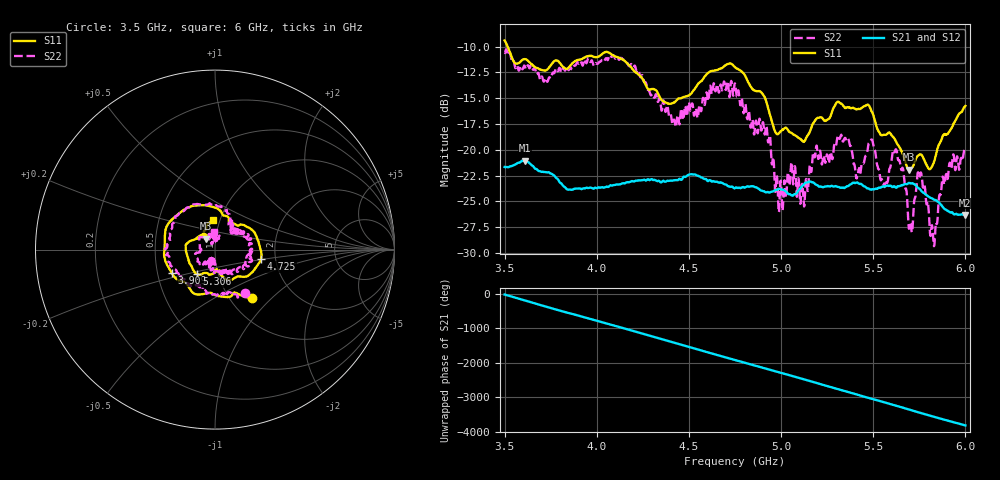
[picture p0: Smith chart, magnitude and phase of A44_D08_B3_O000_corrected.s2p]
! Created with skrf 1.9.0 (http://scikit-rf.org).
# Hz S RI R 50.0
!freq ReS11 ImS11 ReS21 ImS21 ReS12 ImS12 ReS22 ImS22
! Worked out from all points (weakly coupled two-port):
!   1601 points, 3.5 GHz to 6 GHz, reference 50 ohm
!   highest |S21| = -21.06 dB at 3.609 GHz (marker M1); lowest = -26.3 dB at 5.998 GHz (marker M2)
!   lowest |S11| = -21.9 dB at 5.692 GHz (marker M3), VSWR 1.17, Z = 44.7 + j5.42 ohm
!   |S11| at or under -10 dB: 3.517 GHz to end of sweep
!   |S22| runs from -29.4 to -10.3 dB; largest |S21 - S12| = 0.0011
!   S11 on the Smith chart (normalised r, x): 3.5 GHz: 1.27, -0.77; 3.909 GHz: 0.59, -0.17; 4.725 GHz: 1.68, -0.19; 5.306 GHz: 0.79, -0.22; 6 GHz: 0.93, +0.31
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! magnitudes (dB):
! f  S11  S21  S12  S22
! 3.5 GHz  -9.4  -21.7  -21.6  -10.6
! 3.609 GHz  -11.2  -21.1  -21.1  -11.9
! 3.909 GHz  -11.2  -23.8  -23.7  -11.4
! 3.917 GHz  -11.2  -23.8  -23.8  -11.6
! 4.139 GHz  -11.2  -23.3  -23.3  -11.2
! 4.334 GHz  -14.6  -23.0  -23.0  -15.3
! 4.42 GHz  -15.4  -23.0  -23.0  -17.1
! 4.725 GHz  -11.6  -23.6  -23.5  -13.9
! 4.75 GHz  -12.0  -23.7  -23.7  -13.6
! 4.93 GHz  -16.0  -24.1  -24.1  -19.3
! 4.997 GHz  -18.2  -23.8  -23.8  -23.0
! 5.116 GHz  -19.2  -23.5  -23.5  -23.4
! 5.167 GHz  -17.7  -23.1  -23.1  -21.7
! 5.306 GHz  -15.4  -23.6  -23.5  -18.7
! 5.584 GHz  -18.3  -23.5  -23.5  -22.2
! 5.631 GHz  -19.5  -23.6  -23.5  -20.6
! 5.692 GHz  -21.9  -23.2  -23.2  -27.4
! 5.752 GHz  -20.5  -23.8  -23.8  -22.6
! 5.834 GHz  -20.9  -24.9  -24.8  -28.4
! 5.884 GHz  -18.5  -25.7  -25.7  -23.4
! 5.998 GHz  -15.8  -26.3  -26.3  -20.0
! 6 GHz  -15.8  -26.3  -26.3  -20.1
